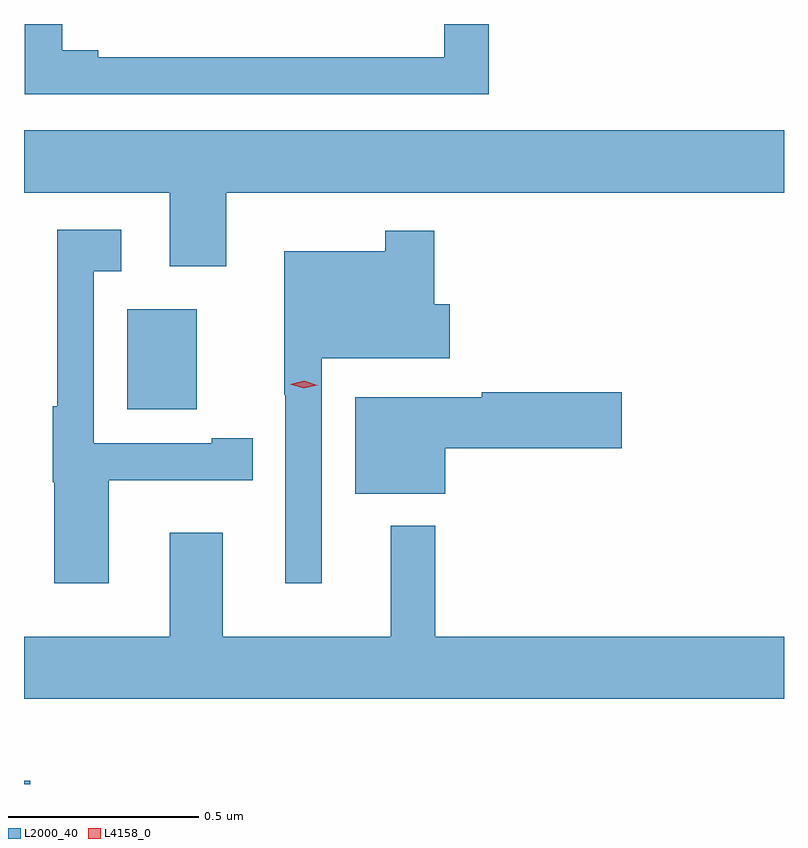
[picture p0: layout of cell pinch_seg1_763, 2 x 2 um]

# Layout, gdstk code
import gdstk
lib = gdstk.Library(unit=1e-6, precision=1e-09)
def R(c, l, rs):  # rectangles x0, y0, x1, y1
    for r in rs: c.add(gdstk.rectangle(r[:2], r[2:], *l))
def P(c, l, *ps):  # polygons
    for p in ps: c.add(gdstk.Polygon(p, *l))
L2000_40 = (2000, 40)
L4158_0 = (4158, 0)

pinch_seg1_763 = lib.new_cell('pinch_seg1_763')
R(pinch_seg1_763, L2000_40, [(857.91,512.88,857.927,512.888), (858.182,513.866,858.364,514.129)])
P(pinch_seg1_763, L2000_40, [(859.133,514.88),(859.016,514.88),(859.016,514.792),(858.106,514.792),(858.106,514.811),(858.01,514.811),(858.01,514.88),(857.912,514.88),(857.912,514.695),(859.133,514.695)],
  [(858.442,514.436),(859.91,514.436),(859.91,514.6),(857.91,514.6),(857.91,514.436),(858.293,514.436),(858.293,514.242),(858.442,514.242)],
  [(858.133,513.68),(858.512,513.68),(858.512,513.79),(858.404,513.79),(858.404,513.777),(858.093,513.777),(858.093,514.229),(858.166,514.229),(858.166,514.339),(857.997,514.339),(857.997,513.874),(857.985,513.874),(857.985,513.674),(857.989,513.674),(857.989,513.408),(858.133,513.408)],
  [(858.693,514.001),(859.03,514.001),(859.03,514.143),(858.989,514.143),(858.989,514.336),(858.861,514.336),(858.861,514.282),(858.595,514.282),(858.595,513.905),(858.597,513.905),(858.597,513.408),(858.693,513.408)],
  [(859.018,513.764),(859.483,513.764),(859.483,513.911),(859.114,513.911),(859.114,513.898),(858.782,513.898),(858.782,513.644),(859.018,513.644)],
  [(859.91,513.268),(858.992,513.268),(858.992,513.559),(858.875,513.559),(858.875,513.268),(858.433,513.268),(858.433,513.541),(858.293,513.541),(858.293,513.268),(857.91,513.268),(857.91,513.104),(859.91,513.104)])
P(pinch_seg1_763, L4158_0, [(858.646,513.921),(858.611,513.932),(858.611,513.932),(858.611,513.932),(858.647,513.941),(858.682,513.93),(858.683,513.929),(858.682,513.929)])

lib.write_gds('pinch_seg1_763.gds')
